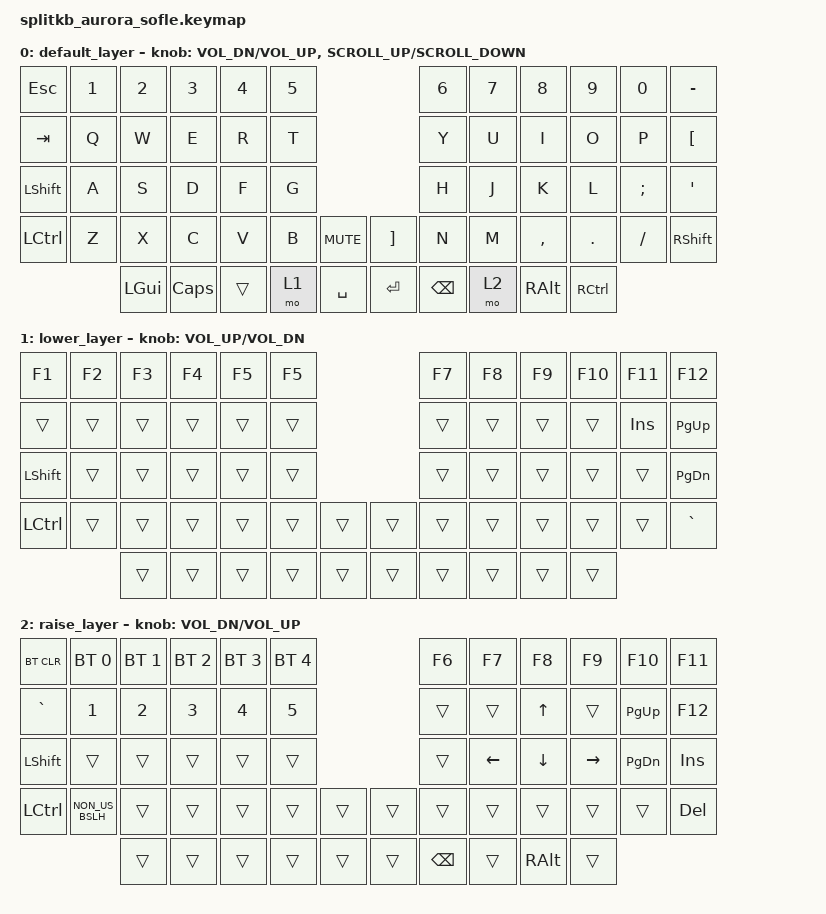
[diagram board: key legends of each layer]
/*
 * Copyright (c) 2023 The ZMK Contributors
 *
 * SPDX-License-Identifier: MIT
 */

#include <behaviors.dtsi>
#include <dt-bindings/zmk/bt.h>
#include <dt-bindings/zmk/keys.h>

/*Uncomment this block if using RGB
&led_strip {
    chain-length = <6>;
    //chain-length = <35>; // Uncomment if using both per-key and underglow LEDs
    //chain-length = <29>; // Uncomment if using only per-key LEDs.
};
 */

/ {
    keymap {
        compatible = "zmk,keymap";

        default_layer {
            // ------------------------------------------------------------------------------------------------------------
            // |  ESC  |  1  |  2  |  3   |  4   |  5   |                   |  6   |  7    |  8    |  9   |   0   |   +   |
            // |  TAB  |  Q  |  W  |  E   |  R   |  T   |                   |  Y   |  U    |  I    |  O   |   P   |   -   |
            // | SHIFT |  A  |  S  |  D   |  F   |  G   |                   |  H   |  J    |  K    |  L   |   ;   |   '   |
            // |  CTRL |  Z  |  X  |  C   |  V   |  B   |   "["  |  |  "]"  |  N   |  M    |  ,    |  .   |   -   | SHIFT |
            //               |CTRL | ALT  | GUI  | LOWER|  SPACE |  | BSPC  | RAISE| ENTER | RALT  | CTRL |

            bindings = <
&kp ESC           &kp N1  &kp N2        &kp N3        &kp N4  &kp N5                          &kp N6         &kp N7  &kp N8         &kp N9     &kp N0    &kp MINUS
&kp TAB           &kp Q   &kp W         &kp E         &kp R   &kp T                           &kp Y          &kp U   &kp I          &kp O      &kp P     &kp LEFT_BRACKET
&kp LEFT_SHIFT    &kp A   &kp S         &kp D         &kp F   &kp G                           &kp H          &kp J   &kp K          &kp L      &kp SEMI  &kp SQT
&kp LEFT_CONTROL  &kp Z   &kp X         &kp C         &kp V   &kp B   &kp C_MUTE    &kp RBKT  &kp N          &kp M   &kp COMMA      &kp DOT    &kp FSLH  &kp RSHFT
                          &kp LEFT_GUI  &kp CAPSLOCK  &trans  &mo 1   &kp SPACE     &kp RET   &kp BACKSPACE  &mo 2   &kp RIGHT_ALT  &kp RCTRL
            >;

            sensor-bindings =
                <&inc_dec_kp C_VOL_DN C_VOL_UP>,
                <&inc_dec_kp K_SCROLL_UP K_SCROLL_DOWN>;
        };

        lower_layer {
            // ------------------------------------------------------------------------------------------------------------
            // | BTCLR | BT1 | BT2 |  BT3 |  BT4 |  BT5 |                   |  F7  |   F8  |   F9  |  F10 |  F11  |  F12  |
            // |  F1   |  F2 |  F3 |  F4  |  F5  |  F6  |                   |      |       |       |      |       |       |
            // |       |     |     |      |      |      |                   |      |       |       |      |       |       |
            // |       |     |     |      |      |      |        |  |       |      |       |       |      |       |       |
            //               |     |      |      |      |        |  |       |      |       |       |      |

            bindings = <
&kp F1          &kp F2  &kp F3  &kp F4  &kp F5  &kp F5                    &kp F7  &kp F8  &kp F9  &kp F10  &kp F11     &kp F12
&trans          &trans  &trans  &trans  &trans  &trans                    &trans  &trans  &trans  &trans   &kp INSERT  &kp PAGE_UP
&kp LEFT_SHIFT  &trans  &trans  &trans  &trans  &trans                    &trans  &trans  &trans  &trans   &trans      &kp PAGE_DOWN
&kp LCTRL       &trans  &trans  &trans  &trans  &trans  &trans    &trans  &trans  &trans  &trans  &trans   &trans      &kp GRAVE
                        &trans  &trans  &trans  &trans  &trans    &trans  &trans  &trans  &trans  &trans
            >;

            sensor-bindings = <&inc_dec_kp C_VOL_UP C_VOL_DN>;
        };

        raise_layer {
            // ------------------------------------------------------------------------------------------------------------
            // |  F1   |  F2 |  F3 |  F4  |   F5 |  F6  |                   |      |       |       |      |       |       |
            // |       |     |     |      |      |      |                   |      |       |       |      |       |   ¨   |
            // |       |     |     |      |      |      |                   |      |       |   ^   |      |       |   *   |
            // |  <    |   > | "|" |      |      |      |        |  |       |      |   <-  |   v    |  -> |       |
            //               |     |      |      |      |        |  |       |      |       |       |      |

            bindings = <
&bt BT_CLR      &bt BT_SEL 0     &bt BT_SEL 1  &bt BT_SEL 2  &bt BT_SEL 3  &bt BT_SEL 4                    &kp F6         &kp F7    &kp F8         &kp F9     &kp F10      &kp F11
&kp GRAVE       &kp N1           &kp N2        &kp N3        &kp N4        &kp N5                          &trans         &trans    &kp UP_ARROW   &trans     &kp PAGE_UP  &kp F12
&kp LEFT_SHIFT  &trans           &trans        &trans        &trans        &trans                          &trans         &kp LEFT  &kp DOWN       &kp RIGHT  &kp PG_DN    &kp INS
&kp LCTRL       &kp NON_US_BSLH  &trans        &trans        &trans        &trans        &trans    &trans  &trans         &trans    &trans         &trans     &trans       &kp DEL
                                 &trans        &trans        &trans        &trans        &trans    &trans  &kp BACKSPACE  &trans    &kp RIGHT_ALT  &trans
            >;

            sensor-bindings = <&inc_dec_kp C_VOL_DN C_VOL_UP>;
        };
    };
};
